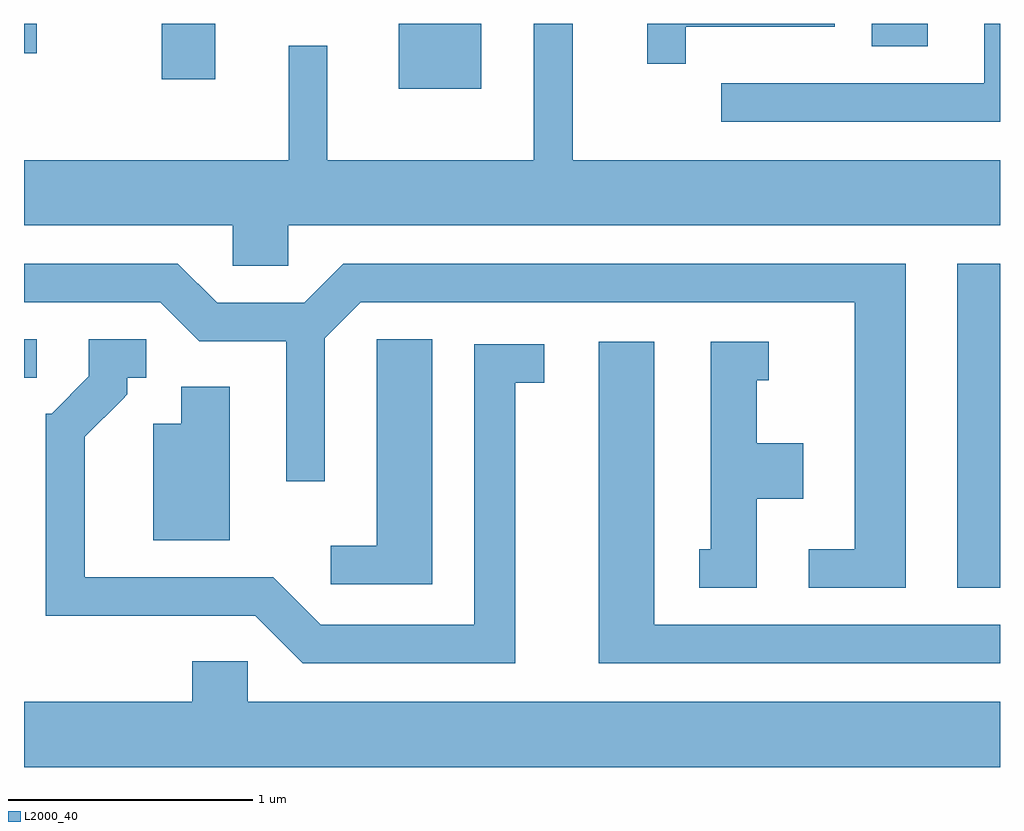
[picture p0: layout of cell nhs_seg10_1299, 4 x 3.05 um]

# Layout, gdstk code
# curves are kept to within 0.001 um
import gdstk
lib = gdstk.Library(unit=1e-6, precision=1e-09)
def R(c, l, rs):  # rectangles x0, y0, x1, y1
    for r in rs: c.add(gdstk.rectangle(r[:2], r[2:], *l))
def P(c, l, *ps):  # polygons
    for p in ps: c.add(gdstk.Polygon(p, *l))
L2000_40 = (2000, 40)

nhs_seg10_1299 = lib.new_cell('nhs_seg10_1299')
R(nhs_seg10_1299, L2000_40, [(227.436,2110.211,227.611,2111.539), (223.611,2111.071,223.663,2111.229), (225.146,2112.256,225.484,2112.522), (224.176,2112.296,224.394,2112.522), (223.611,2112.401,223.664,2112.522), (227.086,2112.431,227.314,2112.522)])
P(nhs_seg10_1299, L2000_40, [(224.694,2111.696),(227.611,2111.696),(227.611,2111.964),(225.859,2111.964),(225.859,2112.522),(225.701,2112.522),(225.701,2111.964),(224.854,2111.964),(224.854,2112.433),(224.696,2112.433),(224.696,2111.964),(223.611,2111.964),(223.611,2111.696),(224.466,2111.696),(224.466,2111.531),(224.694,2111.531)],
  [(226.324,2112.511),(226.934,2112.511),(226.934,2112.522),(226.166,2112.522),(226.166,2112.358),(226.324,2112.358)],
  [(227.611,2112.522),(227.546,2112.522),(227.546,2112.279),(226.468,2112.279),(226.468,2112.121),(227.611,2112.121)],
  [(227.224,2111.539),(224.919,2111.539),(224.759,2111.379),(224.402,2111.379),(224.242,2111.539),(223.611,2111.539),(223.611,2111.381),(224.169,2111.381),(224.329,2111.221),(224.686,2111.221),(224.686,2110.648),(224.844,2110.648),(224.844,2111.234),(224.992,2111.381),(227.016,2111.381),(227.016,2110.369),(226.828,2110.369),(226.828,2110.211),(227.224,2110.211)],
  [(225.624,2111.051),(225.743,2111.051),(225.743,2111.209),(225.456,2111.209),(225.456,2110.059),(224.827,2110.059),(224.632,2110.254),(223.859,2110.254),(223.859,2110.829),(224.034,2111.004),(224.034,2111.071),(224.113,2111.071),(224.113,2111.229),(223.876,2111.229),(223.876,2111.077),(223.724,2110.924),(223.701,2110.924),(223.701,2110.096),(224.559,2110.096),(224.754,2109.901),(225.624,2109.901)],
  [(225.284,2111.229),(225.056,2111.229),(225.056,2110.384),(224.868,2110.384),(224.868,2110.226),(225.284,2110.226)],
  [(226.614,2110.576),(226.804,2110.576),(226.804,2110.804),(226.614,2110.804),(226.614,2111.061),(226.663,2111.061),(226.663,2111.219),(226.426,2111.219),(226.426,2110.369),(226.378,2110.369),(226.378,2110.211),(226.614,2110.211)],
  [(227.611,2110.059),(226.194,2110.059),(226.194,2111.219),(225.966,2111.219),(225.966,2109.901),(227.611,2109.901)],
  [(224.454,2111.034),(224.256,2111.034),(224.256,2110.884),(224.141,2110.884),(224.141,2110.406),(224.454,2110.406)],
  [(227.611,2109.744),(224.529,2109.744),(224.529,2109.909),(224.301,2109.909),(224.301,2109.744),(223.611,2109.744),(223.611,2109.476),(227.611,2109.476)])

lib.write_gds('nhs_seg10_1299.gds')
